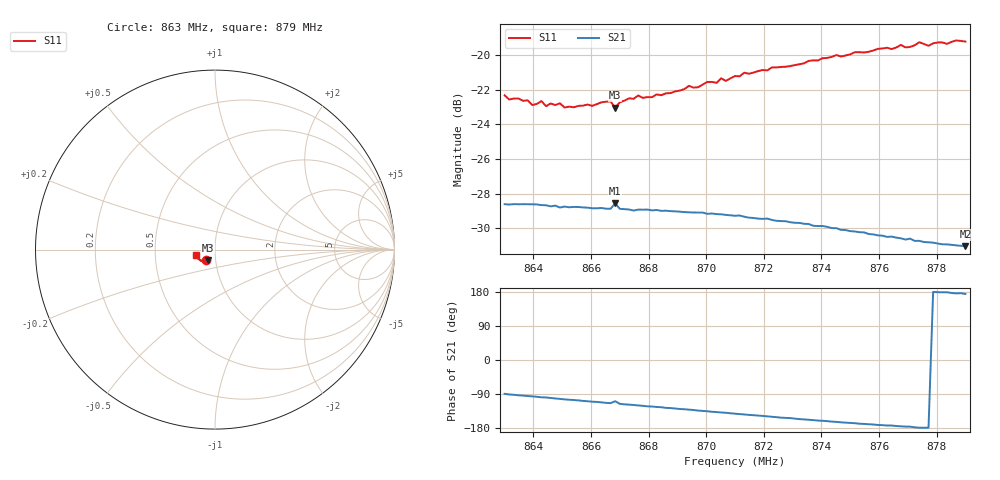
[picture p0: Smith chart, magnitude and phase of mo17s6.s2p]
# HZ S RI R 50
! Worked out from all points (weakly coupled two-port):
!   101 points, 863 MHz to 879 MHz, reference 50 ohm
!   highest |S21| = -28.57 dB at 866.84 MHz (marker M1); lowest = -31.0 dB at 879 MHz (marker M2)
!   lowest |S11| = -23.0 dB at 866.84 MHz (marker M3), VSWR 1.15, Z = 45.9 - j5.37 ohm
!   |S11| at or under -10 dB: start of sweep to end of sweep
!   S12 and S22 are empty: the file has one direction only
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8.63e8  -0.0501 -0.0578  0.000493 -0.0371  0 0  0 0
8.6316e8  -0.0483 -0.0566  -0.000592 -0.037  0 0  0 0
8.638e8  -0.0474 -0.0569  -0.00327 -0.0369  0 0  0 0
8.6396e8  -0.0462 -0.0549  -0.00385 -0.0369  0 0  0 0
8.6428e8  -0.0459 -0.0576  -0.00543 -0.0365  0 0  0 0
8.6444e8  -0.0442 -0.0558  -0.00563 -0.0364  0 0  0 0
8.6492e8  -0.0449 -0.057  -0.00797 -0.0354  0 0  0 0
8.6508e8  -0.0428 -0.0561  -0.00876 -0.0354  0 0  0 0
8.6572e8  -0.043 -0.057  -0.0112 -0.0345  0 0  0 0
8.6668e8  -0.0433 -0.0594  -0.0145 -0.0329  0 0  0 0
8.6684e8  -0.0397 -0.0582  -0.012 -0.0353  0 0  0 0
8.67e8  -0.0429 -0.0591  -0.0156 -0.0324  0 0  0 0
8.6764e8  -0.0444 -0.0622  -0.0178 -0.031  0 0  0 0
8.6844e8  -0.0449 -0.0621  -0.0201 -0.0292  0 0  0 0
8.71e8  -0.0552 -0.0672  -0.0269 -0.0213  0 0  0 0
8.7372e8  -0.0715 -0.0649  -0.0299 -0.0117  0 0  0 0
8.7644e8  -0.0902 -0.052  -0.0296 -0.00369  0 0  0 0
8.7676e8  -0.0954 -0.0486  -0.0294 -0.00258  0 0  0 0
8.7708e8  -0.0941 -0.0478  -0.0294 -0.00212  0 0  0 0
8.774e8  -0.0999 -0.0437  -0.029 -0.000672  0 0  0 0
8.7772e8  -0.0973 -0.043  -0.0288 -0.000732  0 0  0 0
8.79e8  -0.105 -0.031  -0.0279 0.00278  0 0  0 0
